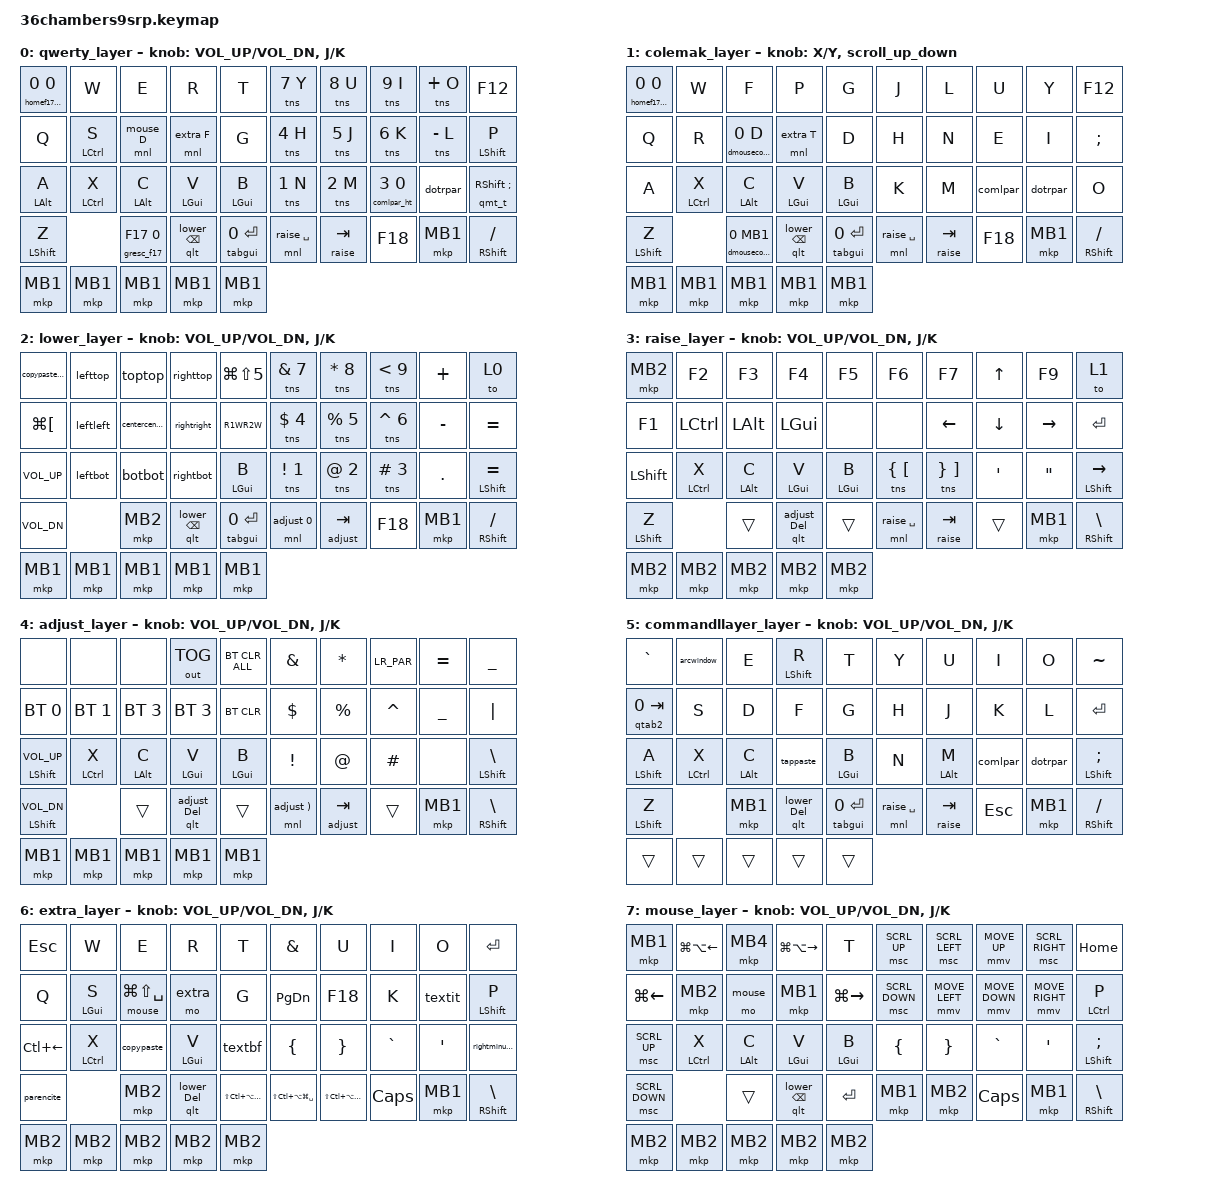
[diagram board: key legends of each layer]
/*
 * Copyright (c) 2020 The ZMK Contributors
 *;
 * SPDX-License-Identifier: MIT

west build -d build/369srpleft -p -b xiao_ble//zmk -- -DSHIELD=36chambers9srp_left
west build -d build/369srpright -p -b xiao_ble//zmk -- -DSHIELD=36chambers9srp_right

docker cp naughty_cohen:/workspaces/zmk/app/build/369srpleft/zephyr/zmk.uf2 "/Users/song100/Library/Mobile Documents/com~apple~CloudDocs/Keyboard/36firmware/36chambers9srp_left.uf2"
docker cp naughty_cohen:/workspaces/zmk/app/build/369srpright/zephyr/zmk.uf2 "/Users/song100/Library/Mobile Documents/com~apple~CloudDocs/Keyboard/36firmware/36chambers9srp_right.uf2"
 */
#include <behaviors.dtsi>
#include <dt-bindings/zmk/keys.h>
#include <dt-bindings/zmk/bt.h>
#include <dt-bindings/zmk/outputs.h>
#include <dt-bindings/zmk/mouse.h>        
#include <dt-bindings/zmk/pointing.h>

#define qwerty 0
#define lower 1
#define raise 2
#define adjust 3
#define commandlayer 4
#define extra 5
#define mouse 6
// #define cmtoqw 6
// #define lock 7
// #define locklow 8
// #define unlock 9
// #define lockhigh 10
#define ZMK_POINTING_DEFAULT_MOVE_VAL 3500  // default: 600
#define ZMK_POINTING_DEFAULT_SCRL_VAL 30

#include "../369p/369p_behaviors.dtsi"

/{
    keymap {
        compatible = "zmk,keymap";

        qwerty_layer {
            bindings = <  
    &homef17mm 0 0  &kp W           &kp E               &kp R               &kp T                 &tns N7 Y           &tns N8 U           &tns N9 I       &tns PLUS O         &kp F12
    &kp Q           &bhm LCTL S           &mnl mouse D        &mnl extra F        &kp G           &tns N4 H           &tns N5 J           &tns N6 K       &tns MINUS L        &bhm LSHFT P
    &bhm LALT A           &bhm LCTRL X    &bhm LALT C         &bhm LGUI V         &bhm LGUI B     &tns N1 N           &tns N2 M           &comlpar_ht N3 0 &dotrpar           &qmt_t RSHFT SEMI
    &bhm LSHFT Z                    &gresc_f17 F17 0 &qlt lower BSPC &tabgui 0 RET   &mnl raise SPACE    &lt raise TAB       &kp F18         &mkp MB1            &mt RSHFT FSLH
    &mkp MB1        &mkp MB1         &mkp MB1              &mkp MB1          &mkp MB1         
                >;
            sensor-bindings = <&inc_dec_kp C_VOL_UP C_VOL_DN &inc_dec_kp J K>;
        };
        colemak_layer {
            bindings = <
    &homef17mm 0 0  &kp W           &kp F               &kp P               &kp G           &kp J               &kp L               &kp U           &kp Y               &kp F12
    &kp Q           &kp R           &dmousecombo 0 D        &mnl extra T        &kp D           &kp H               &kp N               &kp E           &kp I               &kp SEMI
    &kp A           &bhm LCTRL X    &bhm LALT C         &bhm LGUI V         &bhm LGUI B     &kp K               &kp M               &comlpar        &dotrpar            &kp O      
    &bhm LSHFT Z                    &dmousecombo2 0 MB1 &qlt lower BSPC     &tabgui 0 RET   &mnl raise SPACE    &lt raise TAB       &kp F18         &mkp MB1            &mt RSHFT FSLH
    &mkp MB1        &mkp MB1         &mkp MB1              &mkp MB1          &mkp MB1                          
                 >;
sensor-bindings = <&inc_dec_kp X Y &scroll_up_down>;
        };

        lower_layer {
            bindings = <
    &copypastelink  &lefttop         &toptop               &righttop         &kp LG(LS(N5))   &tns AMPS N7       &tns ASTRK N8    &tns LT N9    &kp PLUS         &to 0 
    &kp LG(LBKT)    &leftleft        &centercenter         &rightright       &R1WR2W          &tns DLLR N4       &tns PRCNT N5    &tns CARET N6 &kp MINUS        &kp EQUAL
    &kp C_VOL_UP    &leftbot         &botbot               &rightbot         &bhm LGUI B      &tns EXCL N1       &tns AT N2       &tns POUND N3 &kp DOT          &bhm LSHFT EQUAL
    &kp C_VOL_DN                     &mkp MB2              &qlt lower BSPC   &tabgui 0 RET    &mnl adjust N0     &lt adjust TAB   &kp F18       &mkp MB1         &mt RSHFT FSLH
    &mkp MB1        &mkp MB1         &mkp MB1              &mkp MB1          &mkp MB1         
                >;
            sensor-bindings = <&inc_dec_kp C_VOL_UP C_VOL_DN &inc_dec_kp J K>;
        };
        raise_layer {
            bindings = <
    &mkp MB2        &kp F2           &kp F3                &kp F4            &kp F5           &kp F6             &kp F7           &kp UP        &kp F9           &to 1
    &kp F1          &kp LCTL         &kp LALT              &kp LGUI          &none            &none              &kp LEFT         &kp DOWN      &kp RIGHT        &kp RET
    &kp LSHFT       &bhm LCTRL X     &bhm LALT C           &bhm LGUI V       &bhm LGUI B      &tns LBRC LBKT     &tns RBRC RBKT   &kp SQT       &kp DQT          &bhm LSHFT RIGHT
    &bhm LSHFT Z                     &trans                &qlt adjust DEL   &trans           &mnl raise SPACE   &lt raise TAB    &trans        &mkp MB1 &mt RSHFT BSLH
    &mkp MB2        &mkp MB2         &mkp MB2              &mkp MB2          &mkp MB2         
            >;
            sensor-bindings = <&inc_dec_kp C_VOL_UP C_VOL_DN &inc_dec_kp J K>;
        };
        adjust_layer {
            bindings = <
    &none           &none            &none                 &out OUT_TOG      &bt BT_CLR_ALL   &kp AMPS           &kp ASTRK        &LR_PAR       &kp EQUAL        &kp UNDER
    &bt BT_SEL 0    &bt BT_SEL 1     &bt BT_SEL 3          &bt BT_SEL 3      &bt BT_CLR       &kp DLLR           &kp PRCNT        &kp CARET     &kp UNDER        &kp PIPE
    &bhm LSHFT C_VOL_UP &bhm LCTRL X &bhm LALT C           &bhm LGUI V       &bhm LGUI B      &kp EXCL           &kp AT           &kp POUND     &none            &bhm LSHFT BSLH
    &bhm LSHFT C_VOL_DN              &trans                &qlt adjust DEL   &trans           &mnl adjust RPAR           &lt adjust TAB   &trans        &mkp MB1 &mt RSHFT BSLH
    &mkp MB1        &mkp MB1         &mkp MB1              &mkp MB1          &mkp MB1         
                >;
            sensor-bindings = <&inc_dec_kp C_VOL_UP C_VOL_DN &inc_dec_kp J K>;
        };
        commandllayer_layer {
            bindings = <
    &kp GRAVE       &arcwindow       &kp E                 &bhm LSHFT R      &kp T            &kp Y              &kp U            &kp I         &kp O            &kp TILDE
    &qtab2 0 TAB    &kp S            &kp D                 &kp F             &kp G            &kp H              &kp J            &kp K         &kp L            &kp RET
    &bhm LSHFT A    &bhm LCTRL X     &bhm LALT C           &tappaste       &bhm LGUI B      &kp N              &bhm LALT M      &comlpar      &dotrpar         &bhm LSHFT SEMI
    &bhm LSHFT Z                     &mkp MB1              &qlt lower DEL    &tabgui 0 RET          &mnl raise SPACE   &lt raise TAB    &kp ESC       &mkp MB1 &mt RSHFT FSLH
    &trans          &trans           &trans                &trans            &trans           
                >;
            sensor-bindings = <&inc_dec_kp C_VOL_UP C_VOL_DN &inc_dec_kp J K>;
        };        
        extra_layer {
            bindings = <
    &kp ESC         &kp W            &kp E                 &kp R             &kp T            &kp AMPS           &kp U            &kp I         &kp O            &kp RET
    &kp Q           &bhm LGUI S      &mt mouse LG(LS(SPACE)) &mo extra       &kp G            &kp PG_DN          &kp F18          &kp K         &textit          &bhm LSHFT P 
    &kp LC(LEFT)    &bhm LCTRL X     &copypaste            &bhm LGUI V       &textbf          &kp LBRC           &kp RBRC         &kp GRAVE     &kp SQT          &rightminusgt      
    &parencite                       &mkp MB2              &qlt lower DEL    &kp LS(LC(LA(LG(RET)))) &kp LS(LC(LA(LG(SPACE)))) &kp LS(LC(LA(LG(TAB)))) &kp CAPS &mkp MB1 &mt RSHFT BSLH
    &mkp MB2        &mkp MB2         &mkp MB2              &mkp MB2          &mkp MB2         
                >;
            sensor-bindings = <&inc_dec_kp C_VOL_UP C_VOL_DN &inc_dec_kp J K>;
        };
        mouse_layer {bindings = <
    &mkp MB1        &kp LG(LA(LEFT)) &mkp MB4              &kp LG(LA(RIGHT)) &kp T            &msc SCRL_UP       &msc SCRL_LEFT   &mmv MOVE_UP  &msc SCRL_RIGHT  &kp HOME
    &kp LG(LEFT)    &mkp MB2         &mo mouse             &mkp MB1          &kp LG(RIGHT)    &msc SCRL_DOWN     &mmv MOVE_LEFT   &mmv MOVE_DOWN &mmv MOVE_RIGHT &bhm LCTL P
    &msc SCRL_UP    &bhm LCTRL X     &bhm LALT C           &bhm LGUI V       &bhm LGUI B      &kp LBRC           &kp RBRC         &kp GRAVE     &kp SQT          &bhm LSHFT SEMI      
    &msc SCRL_DOWN                   &trans                &qlt lower BSPC   &kp RET          &mkp MB1           &mkp MB2         &kp CAPS      &mkp MB1 &mt RSHFT BSLH
    &mkp MB2        &mkp MB2         &mkp MB2              &mkp MB2          &mkp MB2         
           >;
            sensor-bindings = <&inc_dec_kp C_VOL_UP C_VOL_DN &inc_dec_kp J K>;
        };
    };
};
